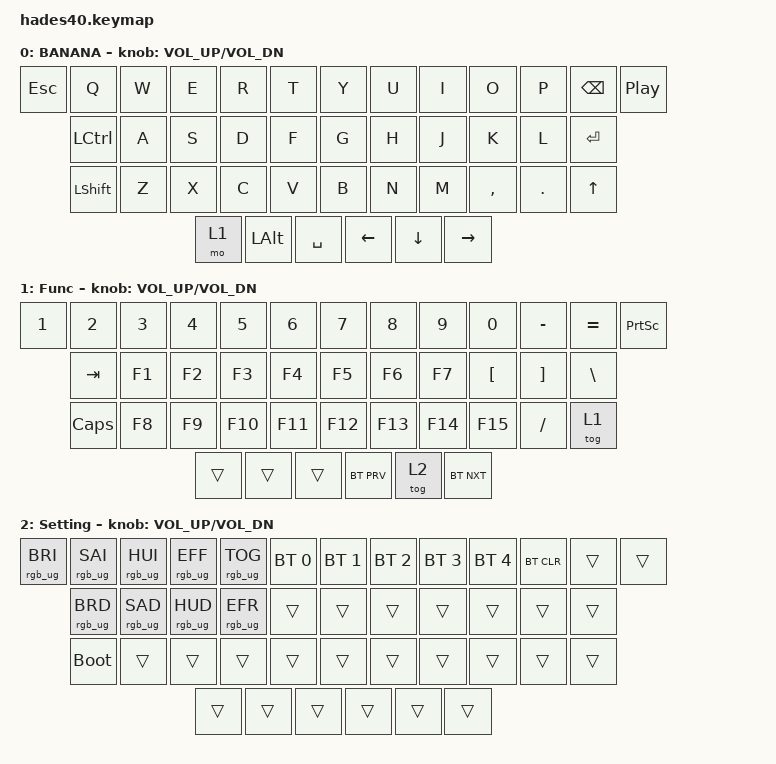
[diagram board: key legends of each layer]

/*
 * Copyright (c) 2020 The ZMK Contributors
 *
 * SPDX-License-Identifier: MIT
 */


/* THIS FILE WAS GENERATED!
 *
 * This file was generated automatically. You may or may not want to
 * edit it directly.
 */

#include <behaviors.dtsi>
#include <dt-bindings/zmk/keys.h>
#include <dt-bindings/zmk/rgb.h>
#include <dt-bindings/zmk/bt.h>

/ {
    keymap {
        compatible = "zmk,keymap";


        default_layer {
            label = "BANANA";
            bindings = <
          &kp ESC     &kp Q   &kp W   &kp E   &kp R      &kp T            &kp Y   &kp U      &kp I       &kp O      &kp P   &kp BSPC  &kp C_PLAY_PAUSE
 &kp LCTRL     &kp A   &kp S   &kp D   &kp F      &kp G            &kp H   &kp J      &kp K       &kp L  &kp ENTER
        &kp LSHFT     &kp Z   &kp X   &kp C   &kp V      &kp B            &kp N   &kp M  &kp COMMA  &kp PERIOD     &kp UP
            &mo 1  &kp LALT                          &kp SPACE                            &kp LEFT               &kp DOWN  &kp RIGHT
            >;

            sensor-bindings = <&inc_dec_kp C_VOL_UP C_VOL_DN>;
        };

        layer_raise {
            label = " Func";
            bindings = <
 &kp N1  &kp N2  &kp N3  &kp N4  &kp N5  &kp N6            &kp N7  &kp N8      &kp N9       &kp N0      &kp MINUS   &kp EQUAL  &kp PSCRN
      &kp TAB        &kp F1        &kp F2        &kp F3        &kp F4        &kp F5                  &kp F6        &kp F7  &kp LBKT  &kp RBKT  &kp BSLH
     &kp CAPS        &kp F8        &kp F9       &kp F10       &kp F11       &kp F12                 &kp F13       &kp F14           &kp F15          &kp SLASH         &tog 1
       &trans           &trans                                                     &trans                                              &bt BT_PRV                            &tog 2  &bt BT_NXT
            >;

            sensor-bindings = <&inc_dec_kp C_VOL_UP C_VOL_DN>;
        };

        layer_lower {
            label = "Setting";
            bindings = <
 &rgb_ug RGB_BRI  &rgb_ug RGB_SAI  &rgb_ug RGB_HUI  &rgb_ug RGB_EFF  &rgb_ug RGB_TOG  &bt BT_SEL 0            &bt BT_SEL 1  &bt BT_SEL 2  &bt BT_SEL 3  &bt BT_SEL 4  &bt BT_CLR  &trans  &trans
 &rgb_ug RGB_BRD  &rgb_ug RGB_SAD  &rgb_ug RGB_HUD  &rgb_ug RGB_EFR           &trans        &trans                  &trans        &trans        &trans        &trans      &trans
     &bootloader           &trans           &trans           &trans           &trans        &trans                  &trans        &trans        &trans        &trans      &trans
          &trans           &trans                                                           &trans                                              &trans                    &trans     &trans
            >;

            sensor-bindings = <&inc_dec_kp C_VOL_UP C_VOL_DN>;
        };

    };
};
